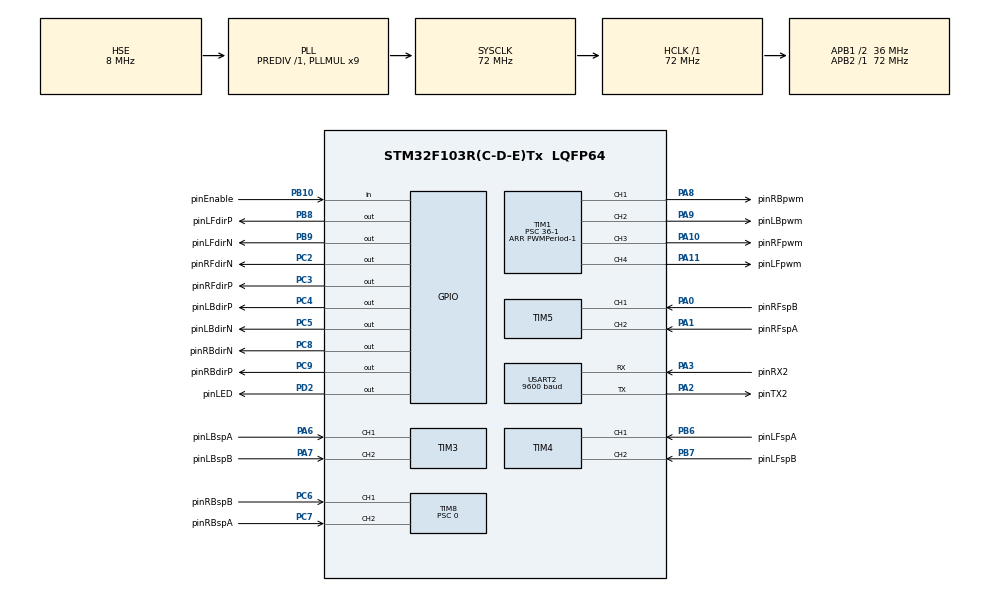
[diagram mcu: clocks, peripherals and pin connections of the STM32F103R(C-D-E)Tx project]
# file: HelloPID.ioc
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Mcu.Family=STM32F1
Mcu.Name=STM32F103R(C-D-E)Tx
Mcu.Package=LQFP64
Mcu.UserConstants=PIDPeriod,5000;PWMPeriod,10800;UnitFreq,100000
NVIC.PriorityGroup=NVIC_PRIORITYGROUP_4
NVIC.TIM2_IRQn=true\:0\:0\:false\:false\:true\:true\:true
PA0-WKUP.GPIO_Label=pinRFspB
PA0-WKUP.Signal=S_TIM5_CH1
PA1.GPIO_Label=pinRFspA
PA1.Signal=S_TIM5_CH2
PA10.GPIO_Label=pinRFpwm
PA10.Signal=S_TIM1_CH3
PA11.GPIO_Label=pinLFpwm
PA11.Signal=S_TIM1_CH4
PA13.Mode=Serial_Wire
PA13.Signal=SYS_JTMS-SWDIO
PA14.Mode=Serial_Wire
PA14.Signal=SYS_JTCK-SWCLK
PA2.GPIO_Label=pinTX2
PA2.Mode=Asynchronous
PA2.Signal=USART2_TX
PA3.GPIO_Label=pinRX2
PA3.Mode=Asynchronous
PA3.Signal=USART2_RX
PA6.GPIO_Label=pinLBspA
PA6.Signal=S_TIM3_CH1
PA7.GPIO_Label=pinLBspB
PA7.Signal=S_TIM3_CH2
PA8.GPIO_Label=pinRBpwm
PA8.Signal=S_TIM1_CH1
PA9.GPIO_Label=pinLBpwm
PA9.Signal=S_TIM1_CH2
PB10.GPIO_Label=pinEnable
PB10.GPIO_PuPd=GPIO_PULLUP
PB10.Signal=GPIO_Input
PB6.GPIO_Label=pinLFspA
PB6.Signal=S_TIM4_CH1
PB7.GPIO_Label=pinLFspB
PB7.Signal=S_TIM4_CH2
PB8.GPIO_Label=pinLFdirP
PB8.Signal=GPIO_Output
PB9.GPIO_Label=pinLFdirN
PB9.Signal=GPIO_Output
PC2.GPIO_Label=pinRFdirN
PC2.Signal=GPIO_Output
PC3.GPIO_Label=pinRFdirP
PC3.Signal=GPIO_Output
PC4.GPIO_Label=pinLBdirP
PC4.Signal=GPIO_Output
PC5.GPIO_Label=pinLBdirN
PC5.Signal=GPIO_Output
PC6.GPIO_Label=pinRBspB
PC6.Signal=S_TIM8_CH1
PC7.GPIO_Label=pinRBspA
PC7.Signal=S_TIM8_CH2
PC8.GPIO_Label=pinRBdirN
PC8.Signal=GPIO_Output
PC9.GPIO_Label=pinRBdirP
PC9.Signal=GPIO_Output
PD0-OSC_IN.Mode=HSE-External-Oscillator
PD0-OSC_IN.Signal=RCC_OSC_IN
PD1-OSC_OUT.Mode=HSE-External-Oscillator
PD1-OSC_OUT.Signal=RCC_OSC_OUT
PD2.GPIO_Label=pinLED
PD2.Signal=GPIO_Output
ProjectManager.HeapSize=0x200
ProjectManager.StackSize=0x400
ProjectManager.TargetToolchain=Makefile
RCC.AHBFreq_Value=72000000
RCC.APB1CLKDivider=RCC_HCLK_DIV2
RCC.APB1Freq_Value=36000000
RCC.APB1TimFreq_Value=72000000
RCC.APB2Freq_Value=72000000
RCC.APB2TimFreq_Value=72000000
RCC.HCLKFreq_Value=72000000
RCC.PLLMUL=RCC_PLL_MUL9
RCC.PLLSourceVirtual=RCC_PLLSOURCE_HSE
RCC.SYSCLKFreq_VALUE=72000000
RCC.SYSCLKSource=RCC_SYSCLKSOURCE_PLLCLK
RCC.USBFreq_Value=72000000
SH.S_TIM1_CH1.0=TIM1_CH1,PWM Generation1 CH1
SH.S_TIM1_CH2.0=TIM1_CH2,PWM Generation2 CH2
SH.S_TIM1_CH3.0=TIM1_CH3,PWM Generation3 CH3
SH.S_TIM1_CH4.0=TIM1_CH4,PWM Generation4 CH4
SH.S_TIM3_CH1.0=TIM3_CH1,Encoder_Interface
SH.S_TIM3_CH2.0=TIM3_CH2,Encoder_Interface
SH.S_TIM4_CH1.0=TIM4_CH1,Encoder_Interface
SH.S_TIM4_CH2.0=TIM4_CH2,Encoder_Interface
SH.S_TIM5_CH1.0=TIM5_CH1,Encoder_Interface
SH.S_TIM5_CH2.0=TIM5_CH2,Encoder_Interface
SH.S_TIM8_CH1.0=TIM8_CH1,Encoder_Interface
SH.S_TIM8_CH2.0=TIM8_CH2,Encoder_Interface
TIM1.Channel-PWM\ Generation1\ CH1=TIM_CHANNEL_1
TIM1.Channel-PWM\ Generation2\ CH2=TIM_CHANNEL_2
TIM1.Channel-PWM\ Generation3\ CH3=TIM_CHANNEL_3
TIM1.Channel-PWM\ Generation4\ CH4=TIM_CHANNEL_4
TIM1.Period=PWMPeriod-1
TIM1.Prescaler=36-1
TIM2.Period=PIDPeriod-1
TIM2.Prescaler=720-1
TIM3.EncoderMode=TIM_ENCODERMODE_TI12
TIM4.EncoderMode=TIM_ENCODERMODE_TI12
TIM5.EncoderMode=TIM_ENCODERMODE_TI12
TIM8.EncoderMode=TIM_ENCODERMODE_TI12
TIM8.Period=65535
TIM8.Prescaler=0
USART2.BaudRate=9600
USART2.VirtualMode=VM_ASYNC
VP_TIM1_VS_ClockSourceINT.Mode=Internal
VP_TIM2_VS_ClockSourceINT.Mode=Internal
board=custom

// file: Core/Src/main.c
/* USER CODE BEGIN Header */
/**
  ******************************************************************************
  * @file           : main.c
  * @brief          : Main program body
  ******************************************************************************
  * @attention
  *
  * <h2><center>&copy; Copyright (c) 2021 STMicroelectronics.
  * All rights reserved.</center></h2>
  *
  * This software component is licensed by ST under BSD 3-Clause license,
  * the "License"; You may not use this file except in compliance with the
  * License. You may obtain a copy of the License at:
  *                        opensource.org/licenses/BSD-3-Clause
  *
  ******************************************************************************
  */
  /* USER CODE END Header */
  /* Includes ------------------------------------------------------------------*/
#include "main.h"
#include "tim.h"
#include "usart.h"
#include "gpio.h"

/* USER CODE BEGIN Includes */
#include "pwm.h"
/* USER CODE END Includes */

/* USER CODE BEGIN PD */
#define false 0
#define true 1
/* USER CODE END PD */

void SystemClock_Config(void);

/* USER CODE BEGIN 0 */
void HAL_TIM_PeriodElapsedCallback(TIM_HandleTypeDef* htim) {
  if (htim == &TIM_PID) {
    TIM_PID_Callback();
  }
}
/* USER CODE END 0 */

int main(void) {

  /* MCU Configuration--------------------------------------------------------*/

  /* Reset of all peripherals, Initializes the Flash interface and the Systick. */
  HAL_Init();

  /* Configure the system clock */
  SystemClock_Config();

  /* Initialize all configured peripherals */
  MX_GPIO_Init();
  MX_TIM1_Init();
  MX_TIM2_Init();
  MX_TIM3_Init();
  MX_TIM5_Init();
  MX_TIM8_Init();
  MX_TIM4_Init();
  MX_USART2_UART_Init();

  /* Infinite loop */
  /* USER CODE BEGIN WHILE */
  // 初始化
  delay_init();
  HAL_TIM_Base_Start_IT(&TIM_PID);// 使能PID中断

  // 使能PWM输出
  HAL_TIM_PWM_Start(&TIM_PWM, TIM_CHANNEL_1);
  HAL_TIM_PWM_Start(&TIM_PWM, TIM_CHANNEL_2);
  HAL_TIM_PWM_Start(&TIM_PWM, TIM_CHANNEL_3);
  HAL_TIM_PWM_Start(&TIM_PWM, TIM_CHANNEL_4);

  // 使能编码器
  HAL_TIM_Encoder_Start(&TIM_LB_SP, TIM_CHANNEL_ALL);
  HAL_TIM_Encoder_Start(&TIM_LF_SP, TIM_CHANNEL_ALL);
  HAL_TIM_Encoder_Start(&TIM_RF_SP, TIM_CHANNEL_ALL);
  HAL_TIM_Encoder_Start(&TIM_RB_SP, TIM_CHANNEL_ALL);
  while (1) {
    /* USER CODE END WHILE */

    /* USER CODE BEGIN 3 */
    if (HAL_GPIO_ReadPin(pinEnable_GPIO_Port, pinEnable_Pin) == GPIO_PIN_RESET) {
      HAL_GPIO_TogglePin(pinLED_GPIO_Port, pinLED_Pin);
    } else {
      HAL_GPIO_WritePin(pinLED_GPIO_Port, pinLED_Pin, GPIO_PIN_RESET);
    }
    // uprintf(&UART_COMM, "%f %f %f %f ", pidLB.realstate, pidLB.pwm, pidLF.realstate, pidLF.pwm);
    // uprintf(&UART_COMM, "%f %f %f %f \n", pidRF.realstate, pidRF.pwm, pidRB.realstate, pidRB.pwm);

    // uprintf(&UART_COMM, "%d %d %d %d \n", (int16_t)__HAL_TIM_GET_COUNTER(&TIM_LB_SP), (int16_t)__HAL_TIM_GET_COUNTER(&TIM_LF_SP),
    //   (int16_t)__HAL_TIM_GET_COUNTER(&TIM_RF_SP), (int16_t)__HAL_TIM_GET_COUNTER(&TIM_RB_SP));

    uprintf(&UART_COMM, "%f %f %f %f \n", pidLB.realstate, pidLF.realstate, pidRF.realstate, pidRB.realstate);
    delay_ms(10);
  }
  /* USER CODE END 3 */
}

void SystemClock_Config(void) {
  RCC_OscInitTypeDef RCC_OscInitStruct = { 0 };
  RCC_ClkInitTypeDef RCC_ClkInitStruct = { 0 };

  /** Initializes the RCC Oscillators according to the specified parameters
  * in the RCC_OscInitTypeDef structure.
  */
  RCC_OscInitStruct.OscillatorType = RCC_OSCILLATORTYPE_HSE;
  RCC_OscInitStruct.HSEState = RCC_HSE_ON;
  RCC_OscInitStruct.HSEPredivValue = RCC_HSE_PREDIV_DIV1;
  RCC_OscInitStruct.HSIState = RCC_HSI_ON;
  RCC_OscInitStruct.PLL.PLLState = RCC_PLL_ON;
  RCC_OscInitStruct.PLL.PLLSource = RCC_PLLSOURCE_HSE;
  RCC_OscInitStruct.PLL.PLLMUL = RCC_PLL_MUL9;
  if (HAL_RCC_OscConfig(&RCC_OscInitStruct) != HAL_OK) {
    Error_Handler();
  }
  /** Initializes the CPU, AHB and APB buses clocks
  */
  RCC_ClkInitStruct.ClockType = RCC_CLOCKTYPE_HCLK | RCC_CLOCKTYPE_SYSCLK
    | RCC_CLOCKTYPE_PCLK1 | RCC_CLOCKTYPE_PCLK2;
  RCC_ClkInitStruct.SYSCLKSource = RCC_SYSCLKSOURCE_PLLCLK;
  RCC_ClkInitStruct.AHBCLKDivider = RCC_SYSCLK_DIV1;
  RCC_ClkInitStruct.APB1CLKDivider = RCC_HCLK_DIV2;
  RCC_ClkInitStruct.APB2CLKDivider = RCC_HCLK_DIV1;

  if (HAL_RCC_ClockConfig(&RCC_ClkInitStruct, FLASH_LATENCY_2) != HAL_OK) {
    Error_Handler();
  }
}

void Error_Handler(void) {
  __disable_irq();
  while (1) {
  }
}

/************************ (C) COPYRIGHT STMicroelectronics *****END OF FILE****/
